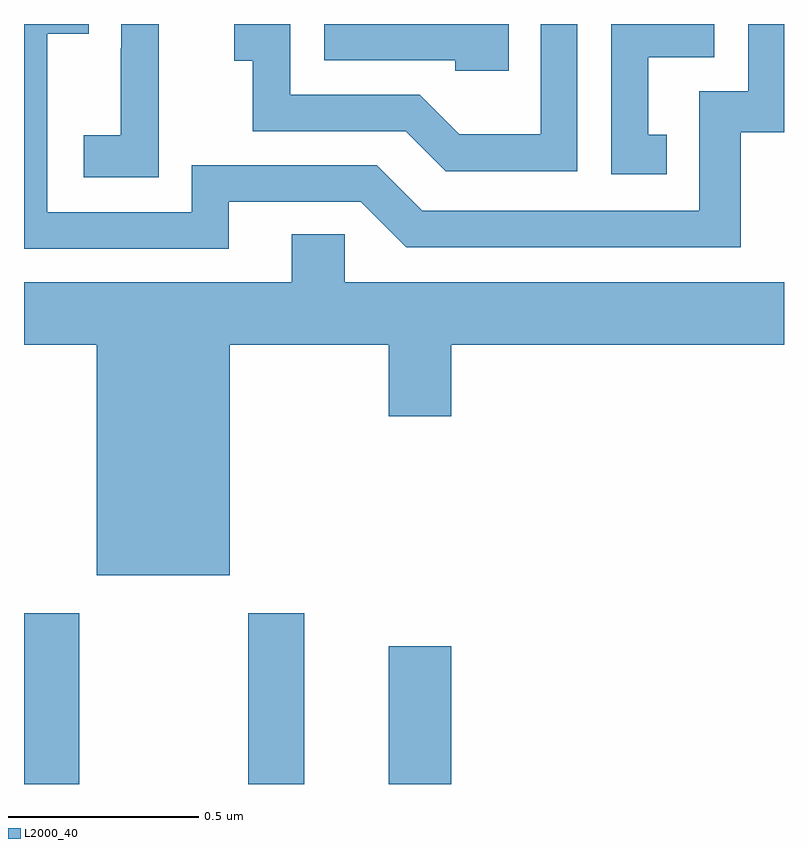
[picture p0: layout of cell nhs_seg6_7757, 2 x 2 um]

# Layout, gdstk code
import gdstk
lib = gdstk.Library(unit=1e-6, precision=1e-09)
def R(c, l, rs):  # rectangles x0, y0, x1, y1
    for r in rs: c.add(gdstk.rectangle(r[:2], r[2:], *l))
def P(c, l, *ps):  # polygons
    for p in ps: c.add(gdstk.Polygon(p, *l))
L2000_40 = (2000, 40)

nhs_seg6_7757 = lib.new_cell('nhs_seg6_7757')
R(nhs_seg6_7757, L2000_40, [(212,959.5,212.145,959.95), (212.59,959.5,212.737,959.95), (212.96,959.5,213.124,959.863)])
P(nhs_seg6_7757, L2000_40, [(213.456,961.5),(213.36,961.5),(213.36,961.21),(213.146,961.21),(213.042,961.314),(212.7,961.314),(212.7,961.5),(212.553,961.5),(212.553,961.403),(212.602,961.403),(212.602,961.218),(213.005,961.218),(213.11,961.113),(213.456,961.113)],
  [(212.355,961.303),(212.354,961.303),(212.354,961.5),(212.256,961.5),(212.256,961.436),(212.255,961.436),(212.255,961.207),(212.157,961.207),(212.157,961.097),(212.355,961.097)],
  [(213.275,961.5),(212.79,961.5),(212.79,961.404),(213.135,961.404),(213.135,961.377),(213.275,961.377)],
  [(212.539,961.032),(212.886,961.032),(213.006,960.912),(213.886,960.912),(213.886,961.215),(214,961.215),(214,961.5),(213.906,961.5),(213.906,961.323),(213.777,961.323),(213.777,961.008),(213.048,961.008),(212.928,961.128),(212.442,961.128),(212.442,961.005),(212.061,961.005),(212.061,961.474),(212.171,961.474),(212.171,961.5),(212,961.5),(212,960.909),(212.539,960.909)],
  [(213.692,961.209),(213.643,961.209),(213.643,961.413),(213.816,961.413),(213.816,961.5),(213.546,961.5),(213.546,961.104),(213.692,961.104)],
  [(212.542,960.656),(212.96,960.656),(212.96,960.468),(213.124,960.468),(213.124,960.656),(214,960.656),(214,960.82),(212.844,960.82),(212.844,960.947),(212.705,960.947),(212.705,960.82),(212,960.82),(212,960.656),(212.192,960.656),(212.192,960.05),(212.542,960.05)])

lib.write_gds('nhs_seg6_7757.gds')
